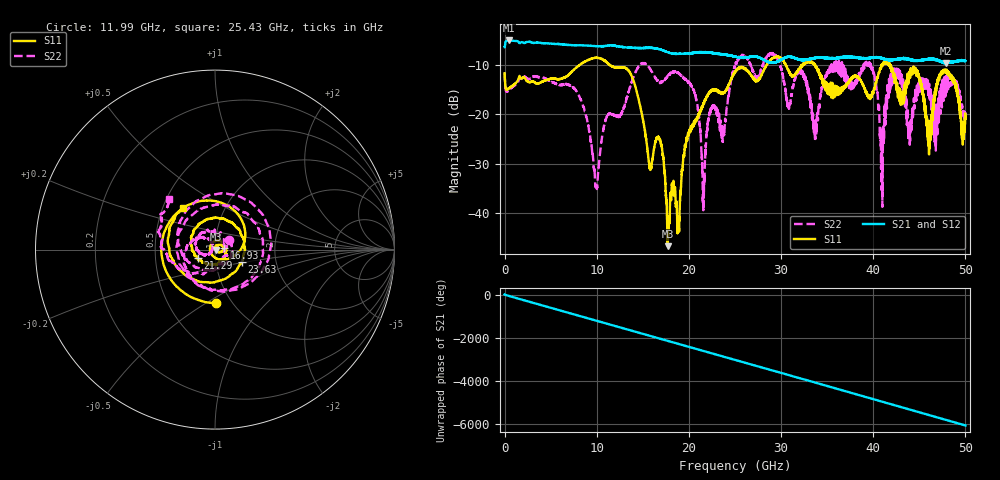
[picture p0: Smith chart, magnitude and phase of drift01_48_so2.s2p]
!Created with skrf (http://scikit-rf.org).
# Hz S RI R 50.0
!freq ReS11 ImS11 ReS21 ImS21 ReS12 ImS12 ReS22 ImS22
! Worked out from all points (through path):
!   10001 points, 300 kHz to 50 GHz, reference 50 ohm
!   highest |S21| = -5.05 dB at 425.3 MHz (marker M1); lowest = -9.7 dB at 47.88 GHz (marker M2)
!   group delay of S21, straight-line fit = 336 ps
!   lowest |S11| = -46.8 dB at 17.69 GHz (marker M3), VSWR 1.01, Z = 50.4 - j0.109 ohm
!   |S11| at or under -10 dB: start of sweep to 8.154 GHz; 11.4 GHz to 28.44 GHz (17.04 GHz wide, 85.5 % of centre); 41.8 GHz to end of sweep (the widest 3 of 15)
!   |S22| runs from -39.5 to -7.6 dB; largest |S21 - S12| = 0.015
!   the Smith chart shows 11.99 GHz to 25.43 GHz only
!   S11 on the Smith chart (normalised r, x): 11.99 GHz: 0.84, -0.55; 16.93 GHz: 1.11, +0.02; 21.29 GHz: 0.82, -0.08; 23.63 GHz: 1.33, -0.19; 25.43 GHz: 0.64, +0.33
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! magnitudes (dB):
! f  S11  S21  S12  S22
! 300 kHz  -11.7  -6.4  -6.5  -11.7
! 425.3 MHz  -14.8  -5.1  -5.1  -15.1
! 8.335 GHz  -9.8  -6.0  -6.0  -17.5
! 9.935 GHz  -8.6  -6.2  -6.2  -34.4
! 11.99 GHz  -10.5  -6.1  -6.2  -20.4
! 15.8 GHz  -30.9  -6.6  -6.6  -10.8
! 16.67 GHz  -24.7  -6.8  -6.8  -13.4
! 16.93 GHz  -25.8  -6.9  -6.9  -13.5
! 17.69 GHz  -46.8  -7.4  -7.4  -12.3
! 20.37 GHz  -22.2  -7.6  -7.6  -14.5
! 21.29 GHz  -19.5  -7.5  -7.4  -25.2
! 23.63 GHz  -15.7  -7.9  -7.9  -23.2
! 25 GHz  -11.4  -8.4  -8.4  -10.5
! 25.43 GHz  -10.7  -8.5  -8.6  -8.4
! 33.34 GHz  -9.5  -8.8  -8.7  -19.9
! 39.49 GHz  -16.6  -8.6  -8.6  -10.1
! 40.94 GHz  -9.8  -8.6  -8.7  -26.9
! 41.67 GHz  -9.9  -8.9  -9.0  -15.2
! 44.74 GHz  -11.2  -9.1  -9.0  -14.2
! 46.08 GHz  -25.3  -8.8  -8.8  -14.8
! 47.88 GHz  -11.6  -9.7  -9.6  -12.3
! 50 GHz  -20.9  -9.2  -9.2  -20.1
